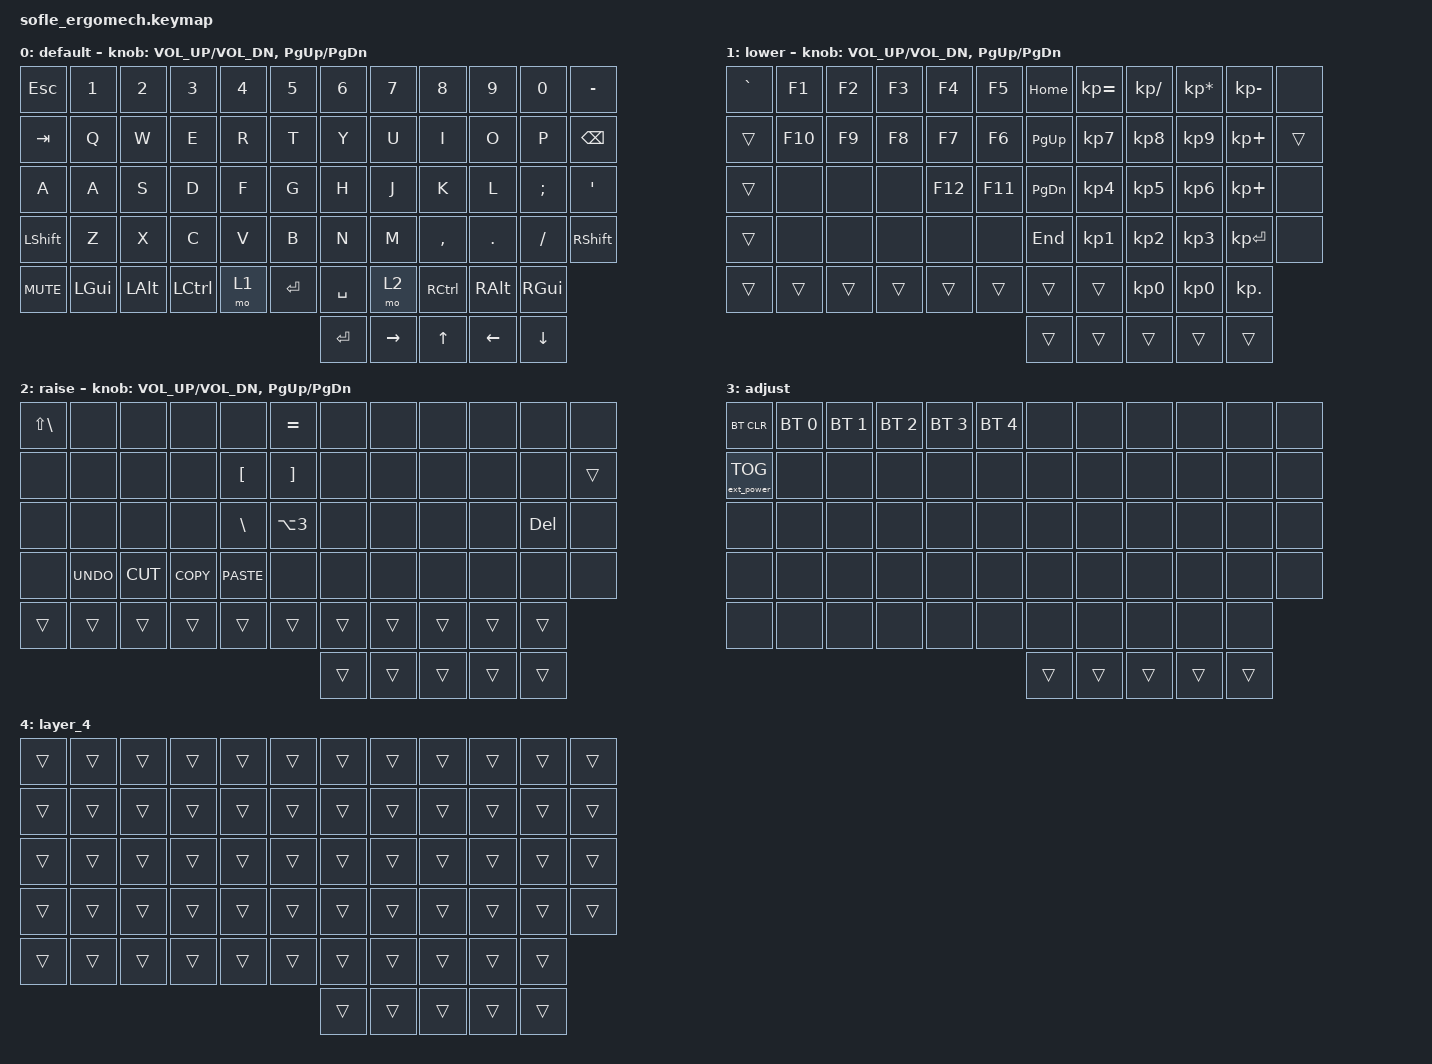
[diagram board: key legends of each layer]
/*
 * Copyright (c) 2020 The ZMK Contributors
 *
 * SPDX-License-Identifier: MIT
 */

#include <behaviors.dtsi>
#include <dt-bindings/zmk/bt.h>
#include <dt-bindings/zmk/ext_power.h>
#include <dt-bindings/zmk/keys.h>

#define BASE 0
#define LOWER 1
#define RAISE 2
#define ADJUST 3

/ {
    // Activate ADJUST layer by pressing raise and lower

    conditional_layers {
        compatible = "zmk,conditional-layers";

        adjust_layer {
            if-layers = <1 2>;
            then-layer = <3>;
        };
    };

    keymap {
        compatible = "zmk,keymap";

        default_layer {
            label = "default";

            // ------------------------------------------------------------------------------------------------------------
            // |   `   |  1  |  2  |  3   |  4   |  5   |                   |  6   |  7    |  8    |  9   |   0   |   -   |
            // |  ESC  |  Q  |  W  |  E   |  R   |  T   |                   |  Y   |  U    |  I    |  O   |   P   | BKSPC |
            // |  TAB  |  A  |  S  |  D   |  F   |  G   |                   |  H   |  J    |  K    |  L   |   ;   |   '   |
            // | SHIFT |  Z  |  X  |  C   |  V   |  B   |  MUTE  |  |       |  N   |  M    |  ,    |  .   |   /   | SHIFT |
            //               | GUI | ALT  | CTRL | LOWER|  ENTER |  | SPACE | RAISE| CTRL  | ALT   | GUI  |

            bindings = <
&kp ESCAPE  &kp N1    &kp N2    &kp N3     &kp N4  &kp N5   &kp N6     &kp N7     &kp N8        &kp N9    &kp N0    &kp MINUS
&kp TAB     &kp Q     &kp W     &kp E      &kp R   &kp T    &kp Y      &kp U      &kp I         &kp O     &kp P     &kp BSPC
&kp A       &kp A     &kp S     &kp D      &kp F   &kp G    &kp H      &kp J      &kp K         &kp L     &kp SEMI  &kp SQT
&kp LSHFT   &kp Z     &kp X     &kp C      &kp V   &kp B    &kp N      &kp M      &kp COMMA     &kp DOT   &kp FSLH  &kp RSHFT
&kp C_MUTE  &kp LGUI  &kp LALT  &kp LCTRL  &mo 1   &kp RET  &kp SPACE  &mo 2      &kp RCTRL     &kp RALT  &kp RGUI
                                                            &kp ENTER  &kp RIGHT  &kp UP_ARROW  &kp LEFT  &kp DOWN
            >;

            sensor-bindings = <&inc_dec_kp C_VOL_UP C_VOL_DN &inc_dec_kp PG_UP PG_DN>;
        };

        lower_layer {
            label = "lower";

            // TODO: Some binds are waiting for shifted keycode support.
            // ------------------------------------------------------------------------------------------------------------
            // |       |  F1 |  F2 |  F3  |  F4  |  F5  |                   | HOME | BKSPC |   /   |   *  |   -   |       |
            // |   `   | F10 |  F9 |  F8  |  F7  |  F6  |                   | PGUP |   7   |   8   |   9  |   +   |       |
            // |       |     |     |      |  F12 |  F11 |                   | PGDN |   4   |   5   |   6  |   +   |       |
            // |       |  \  |  [  |   ]  |      |      |        |  |       | END  |   1   |   2   |   3  | ENTER |       |
            //               |     |      |      |      |        |  |       |      |   0   |   0   |   .  |

            bindings = <
&kp GRAVE  &kp F1   &kp F2  &kp F3  &kp F4   &kp F5   &kp HOME       &kp KP_EQUAL     &kp KP_DIVIDE    &kp KP_ASTERISK  &kp KP_SUBTRACT  &none
&trans     &kp F10  &kp F9  &kp F8  &kp F7   &kp F6   &kp PAGE_UP    &kp KP_NUMBER_7  &kp KP_NUMBER_8  &kp KP_NUMBER_9  &kp KP_PLUS      &trans
&trans     &none    &none   &none   &kp F12  &kp F11  &kp PAGE_DOWN  &kp KP_NUMBER_4  &kp KP_NUMBER_5  &kp KP_NUMBER_6  &kp KP_PLUS      &none
&trans     &none    &none   &none   &none    &none    &kp END        &kp KP_NUMBER_1  &kp KP_NUMBER_2  &kp KP_NUMBER_3  &kp KP_ENTER     &none
&trans     &trans   &trans  &trans  &trans   &trans   &trans         &trans           &kp KP_NUMBER_0  &kp KP_NUMBER_0  &kp KP_DOT
                                                      &trans         &trans           &trans           &trans           &trans
            >;

            sensor-bindings = <&inc_dec_kp C_VOL_UP C_VOL_DN &inc_dec_kp PG_UP PG_DN>;
        };

        raise_layer {
            label = "raise";

            // ------------------------------------------------------------------------------------------------------------
            // | BTCLR | BT1  | BT2  |  BT3  |  BT4  |  BT5 |                |      |      |       |      |       |       |
            // |       | INS  | PSCR | GUI   |       |      |                | PGUP |      |   ^   |      |       |       |
            // |   =   | ALT  | CTRL | SHIFT |       | CAPS |                | PGDN |   <- |   v   |  ->  |  DEL  | BKSPC |
            // |   \   | UNDO | CUT  | COPY  | PASTE |      |      |  |      |      |      |       |      |       |       |
            //                |      |       |       |      |      |  |      |      |      |       |      |

            bindings = <
&kp LS(BACKSLASH)  &none       &none      &none       &none             &kp EQUAL          &none   &none   &none   &none   &none    &none
&none              &none       &none      &none       &kp LEFT_BRACKET  &kp RIGHT_BRACKET  &none   &none   &none   &none   &none    &trans
&none              &none       &none      &none       &kp BACKSLASH     &kp LA(N3)         &none   &none   &none   &none   &kp DEL  &none
&none              &kp K_UNDO  &kp K_CUT  &kp K_COPY  &kp K_PASTE       &none              &none   &none   &none   &none   &none    &none
&trans             &trans      &trans     &trans      &trans            &trans             &trans  &trans  &trans  &trans  &trans
                                                                                           &trans  &trans  &trans  &trans  &trans
            >;

            sensor-bindings = <&inc_dec_kp C_VOL_UP C_VOL_DN &inc_dec_kp PG_UP PG_DN>;
        };

        adjust_layer {
            // ----------------------------------------------------------------------------------------------------------------------------
            // | BTCLR  |  BT1    |  BT2    |   BT3   |   BT4   |   BT5   |                  |      |      |       |      |       |       |
            // | EXTPWR | RGB_HUD | RGB_HUI | RGB_SAD | RGB_SAI | RGB_EFF |                  |      |      |       |      |       |       |
            // |        | RGB_BRD | RGB_BRI |         |         |         |                  |      |      |       |      |       |       |
            // |        |         |         |         |         |         | RGB_TOG | |      |      |      |       |      |       |       |
            //                    |         |         |         |         |         | |      |      |      |       |      |

            label = "adjust";
            bindings = <
&bt BT_CLR         &bt BT_SEL 0  &bt BT_SEL 1  &bt BT_SEL 2  &bt BT_SEL 3  &bt BT_SEL 4  &none   &none   &none   &none   &none   &none
&ext_power EP_TOG  &none         &none         &none         &none         &none         &none   &none   &none   &none   &none   &none
&none              &none         &none         &none         &none         &none         &none   &none   &none   &none   &none   &none
&none              &none         &none         &none         &none         &none         &none   &none   &none   &none   &none   &none
&none              &none         &none         &none         &none         &none         &none   &none   &none   &none   &none
                                                                                         &trans  &trans  &trans  &trans  &trans
            >;
        };

        layer_4 {
            bindings = <
&trans  &trans  &trans  &trans  &trans  &trans  &trans  &trans  &trans  &trans  &trans  &trans
&trans  &trans  &trans  &trans  &trans  &trans  &trans  &trans  &trans  &trans  &trans  &trans
&trans  &trans  &trans  &trans  &trans  &trans  &trans  &trans  &trans  &trans  &trans  &trans
&trans  &trans  &trans  &trans  &trans  &trans  &trans  &trans  &trans  &trans  &trans  &trans
&trans  &trans  &trans  &trans  &trans  &trans  &trans  &trans  &trans  &trans  &trans
                                                &trans  &trans  &trans  &trans  &trans
            >;
        };
    };
};
